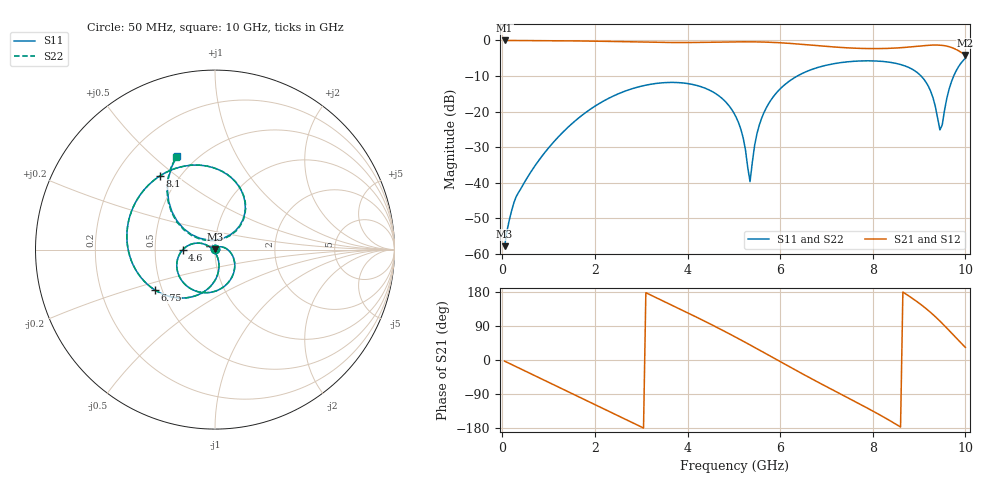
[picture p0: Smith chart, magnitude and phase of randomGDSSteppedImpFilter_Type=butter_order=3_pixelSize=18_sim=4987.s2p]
! freq	dB(S11)	phase(S11)	dB(S12)	phase(S12)
!  dB(S21)	phase(S21)	dB(S22)	phase(S22)
!S-par simulation data
#  GHz  S  DB  R 50
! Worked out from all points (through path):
!   200 points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, 50 MHz to 10 GHz, reference 50 ohm
!   highest |S21| = -0.01 dB at 50 MHz (marker M1); lowest = -4.1 dB at 10 GHz (marker M2)
!   group delay of S21, straight-line fit = 180 ps
!   lowest |S11| = -57.9 dB at 50 MHz (marker M3), VSWR 1.00, Z = 50.1 + j0.109 ohm
!   |S11| at or under -10 dB: start of sweep to 6.372 GHz; 9.042 GHz to 9.748 GHz (705.8 MHz wide, 7.51 % of centre)
!   |S22| runs from -57.9 to -5.0 dB; largest |S21 - S12| = 0
!   S11 on the Smith chart (normalised r, x): 50 MHz: 1.00, +0.00; 4.6 GHz: 0.69, -0.00; 6.75 GHz: 0.46, -0.24; 8.1 GHz: 0.39, +0.44; 10 GHz: 0.39, +0.60
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0.05  -57.86 58.4  -0.01 -3.0  -0.01 -3.0  -57.86 58.3
0.25  -45.67 66.0  -0.03 -14.7  -0.03 -14.7  -45.66 65.9
0.5  -39.44 59.7  -0.05 -29.3  -0.05 -29.3  -39.45 59.4
1.15  -27.97 22.7  -0.09 -67.3  -0.09 -67.3  -27.98 22.4
1.75  -20.77 -12.3  -0.16 -102.7  -0.16 -102.7  -20.77 -12.6
2.6  -14.51 -62.7  -0.35 -153.0  -0.35 -153.0  -14.51 -62.9
3.4  -11.98 -109.5  -0.55 160.0  -0.55 160.0  -11.99 -109.7
4.6  -14.89 -179.6  -0.49 88.2  -0.49 88.2  -14.90 -179.7
5.05  -21.61 155.5  -0.40 59.6  -0.40 59.6  -21.62 155.3
5.2  -27.33 151.9  -0.39 49.8  -0.39 49.8  -27.34 151.6
5.35  -39.71 -131.5  -0.39 39.8  -0.39 39.8  -39.82 -131.4
5.5  -26.19 -72.0  -0.41 29.7  -0.41 29.7  -26.19 -71.9
5.7  -18.98 -79.2  -0.48 16.2  -0.48 16.2  -18.98 -79.2
6.7  -8.08 -143.1  -1.35 -50.9  -1.35 -50.9  -8.08 -143.1
6.75  -7.86 -146.4  -1.41 -54.2  -1.41 -54.2  -7.86 -146.4
7.4  -6.09 171.9  -2.05 -95.9  -2.05 -95.9  -6.09 171.9
8.1  -5.81 126.6  -2.30 -141.4  -2.30 -141.4  -5.81 126.5
8.35  -6.11 109.7  -2.23 -158.6  -2.23 -158.6  -6.12 109.5
9.1  -10.85 53.9  -1.48 140.6  -1.48 140.6  -10.86 53.3
9.45  -25.17 81.7  -1.33 102.7  -1.33 102.7  -25.80 80.4
9.7  -11.58 143.1  -1.98 71.2  -1.98 71.2  -11.62 144.1
10  -5.01 112.2  -4.12 33.4  -4.12 33.4  -5.02 112.7
